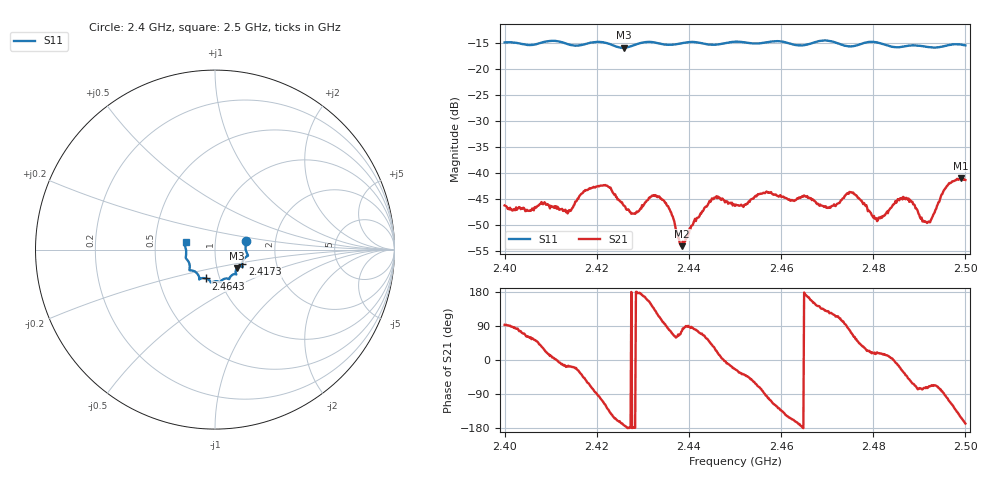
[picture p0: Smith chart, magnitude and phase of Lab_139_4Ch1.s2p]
# Hz S RI R 50
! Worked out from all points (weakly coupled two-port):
!   601 points, 2.4 GHz to 2.5 GHz, reference 50 ohm
!   highest |S21| = -41.03 dB at 2.499 GHz (marker M1); lowest = -54.2 dB at 2.4385 GHz (marker M2)
!   lowest |S11| = -15.9 dB at 2.4258 GHz (marker M3), VSWR 1.38, Z = 62.3 - j13.3 ohm
!   |S11| at or under -10 dB: start of sweep to end of sweep
!   S12 and S22 are empty: the file has one direction only
!   S11 on the Smith chart (normalised r, x): 2.4 GHz: 1.41, +0.15; 2.4173 GHz: 1.34, -0.23; 2.4643 GHz: 0.86, -0.28; 2.5 GHz: 0.72, +0.06
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2.4e9  0.1734 0.0498  -0.000236 0.00484  0 0  0 0
2.413833e9  0.1668 -0.0454  0.00404 -0.00107  0 0  0 0
2.416667e9  0.1529 -0.0747  0.00495 -0.00385  0 0  0 0
2.417333e9  0.1523 -0.0822  0.00449 -0.00492  0 0  0 0
2.422e9  0.1516 -0.0941  -0.00396 -0.00641  0 0  0 0
2.425833e9  0.1218 -0.1039  -0.00479 -0.000682  0 0  0 0
2.428e9  0.1149 -0.124  -0.00403 -9.95e-05  0 0  0 0
2.433333e9  0.1126 -0.1365  -0.00266 0.00519  0 0  0 0
2.4385e9  0.0819 -0.1571  0.000431 0.00191  0 0  0 0
2.4455e9  0.0515 -0.1632  0.00482 0.00314  0 0  0 0
2.45e9  0.0294 -0.1809  0.00438 -0.00195  0 0  0 0
2.464333e9  -0.0505 -0.1609  -0.00577 -0.000636  0 0  0 0
2.466667e9  -0.0766 -0.1599  -0.00497 0.00223  0 0  0 0
2.470333e9  -0.0874 -0.1654  -0.00283 0.00364  0 0  0 0
2.475333e9  -0.1097 -0.1235  0.00216 0.00606  0 0  0 0
2.4805e9  -0.1427 -0.1121  0.00348 0.00098  0 0  0 0
2.483333e9  -0.1409 -0.0895  0.00425 0.000771  0 0  0 0
2.487e9  -0.1559 -0.0566  0.00425 -0.00358  0 0  0 0
2.492e9  -0.1607 -0.0251  0.00112 -0.0032  0 0  0 0
2.496e9  -0.1671 0.0196  -0.00122 -0.00735  0 0  0 0
2.499e9  -0.1684 0.036  -0.00777 -0.0043  0 0  0 0
2.5e9  -0.1634 0.0416  -0.00831 -0.00182  0 0  0 0
